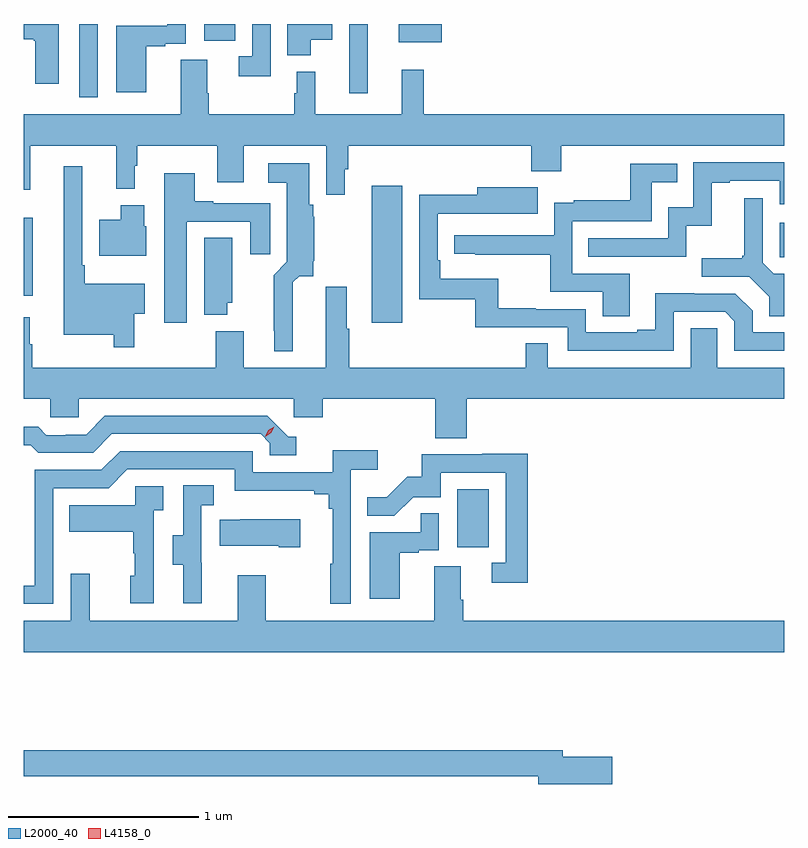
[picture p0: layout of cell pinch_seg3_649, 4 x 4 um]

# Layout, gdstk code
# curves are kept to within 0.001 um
import gdstk
lib = gdstk.Library(unit=1e-6, precision=1e-09)
def R(c, l, rs):  # rectangles x0, y0, x1, y1
    for r in rs: c.add(gdstk.rectangle(r[:2], r[2:], *l))
def P(c, l, *ps):  # polygons
    for p in ps: c.add(gdstk.Polygon(p, *l))
L2000_40 = (2000, 40)
L4158_0 = (4158, 0)

pinch_seg3_649 = lib.new_cell('pinch_seg3_649')
R(pinch_seg3_649, L2000_40, [(1032.494,673.494,1032.658,673.801), (1032.044,674.676,1032.205,675.397), (1030.213,674.819,1030.261,675.229), (1034.19,675.021,1034.213,675.201), (1030.506,675.861,1030.602,676.247), (1031.925,675.882,1032.022,676.247), (1032.185,676.151,1032.412,676.247), (1031.162,676.158,1031.326,676.247)])
P(pinch_seg3_649, L2000_40, [(1030.396,676.247),(1030.213,676.247),(1030.213,676.166),(1030.267,676.166),(1030.267,676.159),(1030.274,676.159),(1030.274,675.933),(1030.396,675.933)],
  [(1030.858,676.131),(1030.958,676.131),(1030.958,676.143),(1031.064,676.143),(1031.064,676.247),(1030.969,676.247),(1030.969,676.239),(1030.7,676.239),(1030.7,675.888),(1030.858,675.888)],
  [(1031.511,676.247),(1031.415,676.247),(1031.415,676.077),(1031.343,676.077),(1031.343,675.972),(1031.511,675.972)],
  [(1031.722,676.163),(1031.836,676.163),(1031.836,676.247),(1031.6,676.247),(1031.6,676.082),(1031.722,676.082)],
  [(1031.902,675.484),(1031.921,675.484),(1031.921,675.608),(1032.881,675.608),(1032.881,675.473),(1033.041,675.473),(1033.041,675.608),(1034.213,675.608),(1034.213,675.772),(1032.317,675.772),(1032.317,676.006),(1032.2,676.006),(1032.2,675.772),(1031.747,675.772),(1031.747,675.997),(1031.648,675.997),(1031.648,675.884),(1031.637,675.884),(1031.637,675.772),(1031.187,675.772),(1031.187,675.884),(1031.179,675.884),(1031.179,676.058),(1031.039,676.058),(1031.039,675.772),(1030.213,675.772),(1030.213,675.375),(1030.247,675.375),(1030.247,675.608),(1030.7,675.608),(1030.7,675.38),(1030.798,675.38),(1030.798,675.501),(1030.81,675.501),(1030.81,675.608),(1031.231,675.608),(1031.231,675.414),(1031.371,675.414),(1031.371,675.608),(1031.805,675.608),(1031.805,675.348),(1031.902,675.348)],
  [(1033.698,675.185),(1033.831,675.185),(1033.831,675.411),(1033.927,675.411),(1033.927,675.423),(1034.19,675.423),(1034.19,675.3),(1034.213,675.3),(1034.213,675.519),(1033.734,675.519),(1033.734,675.283),(1033.602,675.283),(1033.602,675.12),(1033.183,675.12),(1033.183,675.024),(1033.698,675.024)],
  [(1031.629,674.888),(1031.661,674.921),(1031.736,674.921),(1031.736,674.997),(1031.742,675.003),(1031.742,675.234),(1031.736,675.234),(1031.736,675.297),(1031.716,675.297),(1031.716,675.514),(1031.499,675.514),(1031.499,675.413),(1031.597,675.413),(1031.597,674.996),(1031.527,674.926),(1031.527,674.635),(1031.531,674.635),(1031.531,674.525),(1031.629,674.525)],
  [(1033.399,674.934),(1033.098,674.934),(1033.098,675.21),(1033.515,675.21),(1033.515,675.416),(1033.649,675.416),(1033.649,675.513),(1033.404,675.513),(1033.404,675.319),(1033.105,675.319),(1033.105,675.307),(1033.002,675.307),(1033.002,675.135),(1032.477,675.135),(1032.477,675.039),(1032.589,675.039),(1032.589,675.034),(1032.982,675.034),(1032.982,674.838),(1033.259,674.838),(1033.259,674.71),(1033.399,674.71)],
  [(1030.795,674.723),(1030.849,674.723),(1030.849,674.881),(1030.534,674.881),(1030.534,674.977),(1030.521,674.977),(1030.521,675.499),(1030.424,675.499),(1030.424,674.612),(1030.686,674.612),(1030.686,674.547),(1030.795,674.547)],
  [(1031.071,675.207),(1031.405,675.207),(1031.405,675.036),(1031.509,675.036),(1031.509,675.303),(1031.209,675.303),(1031.209,675.316),(1031.113,675.316),(1031.113,675.463),(1030.952,675.463),(1030.952,674.676),(1031.071,674.676)],
  [(1033.632,674.733),(1033.902,674.733),(1033.95,674.685),(1033.95,674.529),(1034.213,674.529),(1034.213,674.625),(1034.046,674.625),(1034.046,674.739),(1033.956,674.829),(1033.74,674.829),(1033.74,674.831),(1033.535,674.831),(1033.535,674.638),(1033.439,674.638),(1033.439,674.625),(1033.17,674.625),(1033.17,674.748),(1032.905,674.748),(1032.905,674.753),(1032.709,674.753),(1032.709,674.908),(1032.404,674.908),(1032.404,675.004),(1032.39,675.004),(1032.39,675.249),(1032.917,675.248),(1032.917,675.388),(1032.599,675.388),(1032.599,675.35),(1032.294,675.35),(1032.294,674.799),(1032.588,674.799),(1032.588,674.652),(1033.074,674.652),(1033.074,674.529),(1033.632,674.529)],
  [(1034.213,674.934),(1034.157,674.934),(1034.1,674.991),(1034.1,675.331),(1034.003,675.331),(1034.003,675.028),(1033.992,675.028),(1033.992,675.016),(1033.779,675.016),(1033.779,674.919),(1034.028,674.919),(1034.135,674.812),(1034.135,674.71),(1034.213,674.71)],
  [(1030.858,675.183),(1030.846,675.183),(1030.846,675.295),(1030.724,675.295),(1030.724,675.217),(1030.61,675.217),(1030.61,675.029),(1030.858,675.029)],
  [(1031.284,674.781),(1031.311,674.781),(1031.311,675.122),(1031.162,675.122),(1031.162,674.717),(1031.284,674.717)],
  [(1032.542,674.276),(1034.213,674.276),(1034.213,674.44),(1033.86,674.44),(1033.86,674.648),(1033.721,674.648),(1033.721,674.44),(1032.969,674.44),(1032.969,674.567),(1032.853,674.567),(1032.853,674.44),(1031.924,674.44),(1031.924,674.645),(1031.911,674.645),(1031.911,674.866),(1031.801,674.866),(1031.801,674.44),(1031.371,674.44),(1031.371,674.632),(1031.224,674.632),(1031.224,674.44),(1030.257,674.44),(1030.257,674.564),(1030.246,674.564),(1030.246,674.704),(1030.213,674.704),(1030.213,674.276),(1030.353,674.276),(1030.353,674.178),(1030.503,674.178),(1030.503,674.276),(1031.634,674.276),(1031.634,674.178),(1031.786,674.178),(1031.786,674.276),(1032.377,674.276),(1032.377,674.068),(1032.542,674.068)],
  [(1031.647,674.076),(1031.604,674.076),(1031.493,674.187),(1030.64,674.187),(1030.541,674.088),(1030.434,674.088),(1030.434,674.085),(1030.331,674.085),(1030.289,674.128),(1030.213,674.128),(1030.213,674.031),(1030.25,674.031),(1030.289,673.992),(1030.578,673.992),(1030.677,674.091),(1031.46,674.091),(1031.508,674.043),(1031.508,673.98),(1031.647,673.98)],
  [(1030.368,673.806),(1030.659,673.806),(1030.758,673.905),(1031.322,673.905),(1031.322,673.793),(1031.741,673.793),(1031.741,673.774),(1031.818,673.774),(1031.818,673.697),(1031.837,673.697),(1031.837,673.409),(1031.826,673.409),(1031.826,673.197),(1031.934,673.197),(1031.934,673.904),(1032.076,673.904),(1032.076,674.006),(1031.837,674.006),(1031.837,673.89),(1031.418,673.89),(1031.418,674.001),(1030.721,674.001),(1030.622,673.902),(1030.272,673.902),(1030.272,673.293),(1030.213,673.293),(1030.213,673.197),(1030.368,673.197)],
  [(1032.863,673.988),(1032.625,673.988),(1032.625,673.983),(1032.307,673.983),(1032.307,673.866),(1032.23,673.866),(1032.123,673.759),(1032.019,673.759),(1032.019,673.66),(1032.163,673.66),(1032.261,673.758),(1032.405,673.758),(1032.405,673.887),(1032.747,673.887),(1032.747,673.413),(1032.675,673.413),(1032.675,673.308),(1032.863,673.308)],
  [(1031.15,673.413),(1031.148,673.413),(1031.148,673.717),(1031.212,673.717),(1031.212,673.82),(1031.052,673.82),(1031.052,673.557),(1030.997,673.557),(1030.997,673.402),(1031.051,673.402),(1031.051,673.2),(1031.15,673.2)],
  [(1030.896,673.691),(1030.948,673.691),(1030.948,673.815),(1030.8,673.815),(1030.8,673.717),(1030.453,673.717),(1030.453,673.577),(1030.788,673.577),(1030.788,673.463),(1030.798,673.463),(1030.798,673.344),(1030.772,673.344),(1030.772,673.2),(1030.896,673.2)],
  [(1032.19,673.467),(1032.29,673.467),(1032.29,673.479),(1032.396,673.479),(1032.396,673.673),(1032.301,673.673),(1032.301,673.575),(1032.032,673.575),(1032.032,673.224),(1032.19,673.224)],
  [(1031.668,673.642),(1031.353,673.642),(1031.353,673.639),(1031.245,673.639),(1031.245,673.502),(1031.555,673.502),(1031.555,673.495),(1031.668,673.495)],
  [(1034.213,673.108),(1032.524,673.108),(1032.524,673.22),(1032.511,673.22),(1032.511,673.394),(1032.371,673.394),(1032.371,673.108),(1031.487,673.108),(1031.487,673.348),(1031.339,673.348),(1031.339,673.108),(1030.559,673.108),(1030.559,673.357),(1030.461,673.357),(1030.461,673.108),(1030.213,673.108),(1030.213,672.944),(1034.213,672.944)],
  [(1033.309,672.392),(1033.048,672.392),(1033.048,672.428),(1030.213,672.428),(1030.213,672.292),(1032.92,672.292),(1032.92,672.25),(1033.309,672.25)])
P(pinch_seg3_649, L4158_0, [(1031.484,674.077),(1031.484,674.077),(1031.5,674.11),(1031.531,674.129),(1031.531,674.129),(1031.531,674.129),(1031.515,674.096),(1031.484,674.077)])

lib.write_gds('pinch_seg3_649.gds')
